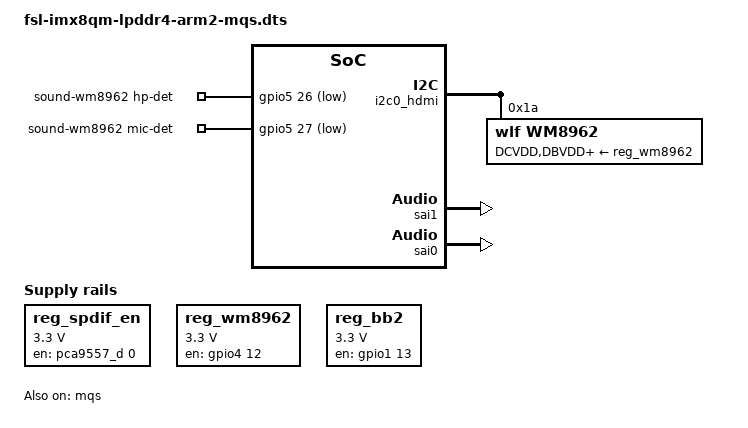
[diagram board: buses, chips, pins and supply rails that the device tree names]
/*
 * Copyright 2017 NXP
 *
 * This program is free software; you can redistribute it and/or
 * modify it under the terms of the GNU General Public License
 * as published by the Free Software Foundation; either version 2
 * of the License, or (at your option) any later version.
 *
 * This program is distributed in the hope that it will be useful,
 * but WITHOUT ANY WARRANTY; without even the implied warranty of
 * MERCHANTABILITY or FITNESS FOR A PARTICULAR PURPOSE.  See the
 * GNU General Public License for more details.
 */

#include "fsl-imx8qm-lpddr4-arm2.dts"

/ {

	leds {
		status = "disabled";
	};

	regulators {

		reg_spdif_en: regulator-spdif-en {
			compatible = "regulator-fixed";
			regulator-name = "spdif-en";
			regulator-min-microvolt = <3300000>;
			regulator-max-microvolt = <3300000>;
			gpio = <&pca9557_d 0 GPIO_ACTIVE_HIGH>;
			regulator-always-on;
			enable-active-high;
		};

		reg_wm8962: regulator-wm8962 {
			compatible = "regulator-fixed";
			regulator-name = "wm8962-supply";
			regulator-min-microvolt = <3300000>;
			regulator-max-microvolt = <3300000>;
			gpio = <&gpio4 12 GPIO_ACTIVE_HIGH>;
			regulator-always-on;
			enable-active-high;
		};

		reg_bb2: regulator-bb2 {
			compatible = "regulator-fixed";
			regulator-name = "bb2-supply";
			regulator-min-microvolt = <3300000>;
			regulator-max-microvolt = <3300000>;
			gpio = <&gpio1 13 GPIO_ACTIVE_HIGH>;
			regulator-always-on;
			enable-active-high;
		};
	};

	sound-cs42888 {
		status = "disabled";
	};

	sound-spdif {
		compatible = "fsl,imx-audio-spdif";
		model = "imx-spdif";
		spdif-controller = <&spdif0>;
		spdif-in;
		spdif-out;
		status = "disabled";
	};

	sound-mqs {
		compatible = "fsl,imx8qm-lpddr4-arm2-mqs",
				"fsl,imx-audio-mqs";
		model = "mqs-audio";
		cpu-dai = <&sai1>;
		audio-codec = <&mqs>;
		asrc-controller = <&asrc1>;
	};

	sound-wm8962 {
		compatible = "fsl,imx6q-sabresd-wm8962",
			   "fsl,imx-audio-wm8962";
		model = "wm8962-audio";
		cpu-dai = <&sai0>;
		audio-codec = <&wm8962>;
		audio-routing =
			"Headphone Jack", "HPOUTL",
			"Headphone Jack", "HPOUTR",
			"Ext Spk", "SPKOUTL",
			"Ext Spk", "SPKOUTR",
			"AMIC", "MICBIAS",
			"IN3R", "AMIC",
			"DMIC", "MICBIAS",
			"DMICDAT", "DMIC",
			"CPU-Playback", "ASRC-Playback",
			"Playback", "CPU-Playback",
			"ASRC-Capture", "CPU-Capture",
			"CPU-Capture", "Capture";
		hp-det-gpios = <&gpio5 26 1>;
		mic-det-gpios = <&gpio5 27 1>;
		codec-master;
	};
};

&esai0 {
	status = "disabled";
};

&iomuxc {

	imx8qm-arm2 {

		pinctrl_spdif0: spdif0grp {
			fsl,pins = <
				SC_P_SPDIF0_TX_AUD_SPDIF0_TX	0xc600004c
				SC_P_SPDIF0_RX_AUD_SPDIF0_RX	0xc600004c
			>;
		};

		pinctrl_mqs: mqsgrp {
			fsl,pins = <
				SC_P_SPDIF0_TX_AUD_MQS_L	0xc6000061
				SC_P_SPDIF0_RX_AUD_MQS_R	0xc6000061
			>;
		};

		pinctrl_sai0: sai0grp {
			fsl,pins = <
				SC_P_SAI1_RXC_AUD_SAI0_TXD		0xc600004c
				SC_P_SAI1_RXFS_AUD_SAI0_RXD		0xc600004c
				SC_P_SAI1_TXC_AUD_SAI0_TXC		0xc600004c
				SC_P_SPI2_CS1_AUD_SAI0_TXFS		0xc600004c

				SC_P_USDHC2_CD_B_LSIO_GPIO4_IO12	0xc600004c
				SC_P_USDHC2_DATA0_LSIO_GPIO5_IO26	0xc600004c
				SC_P_USDHC2_DATA1_LSIO_GPIO5_IO27	0xc600004c
				SC_P_LVDS1_I2C0_SDA_LSIO_GPIO1_IO13	0xc600004c
				SC_P_MCLK_OUT0_AUD_ACM_MCLK_OUT0	0xc600004c
			>;
		};
	};
};

&i2c0_hdmi {

	wm8962: wm8962@1a {
		compatible = "wlf,wm8962";
		reg = <0x1a>;
		clocks = <&clk IMX8QM_AUD_MCLKOUT0>;
		DCVDD-supply = <&reg_wm8962>;
		DBVDD-supply = <&reg_wm8962>;
		AVDD-supply = <&reg_wm8962>;
		CPVDD-supply = <&reg_wm8962>;
		MICVDD-supply = <&reg_wm8962>;
		PLLVDD-supply = <&reg_wm8962>;
		SPKVDD1-supply = <&reg_wm8962>;
		SPKVDD2-supply = <&reg_wm8962>;
		gpio-cfg = <
			0x0000 /* 0:Default */
			0x0000 /* 1:Default */
			0x0013 /* 2:FN_DMICCLK */
			0x0000 /* 3:Default */
			0x8014 /* 4:FN_DMICCDAT */
			0x0000 /* 5:Default */
		>;
		amic-mono;
		power-domains = <&pd_mclk_out0>;
	};
};


&mqs {
	pinctrl-names = "default";
	pinctrl-0 = <&pinctrl_mqs>;
	status = "okay";
};

&spdif0 {
	pinctrl-names = "default";
	pinctrl-0 = <&pinctrl_spdif0>;
	status = "disabled";
};

&sai1 {
	status = "okay";
};

&sai0 {
	pinctrl-names = "default";
	pinctrl-0 = <&pinctrl_sai0>;
	status = "okay";
};
